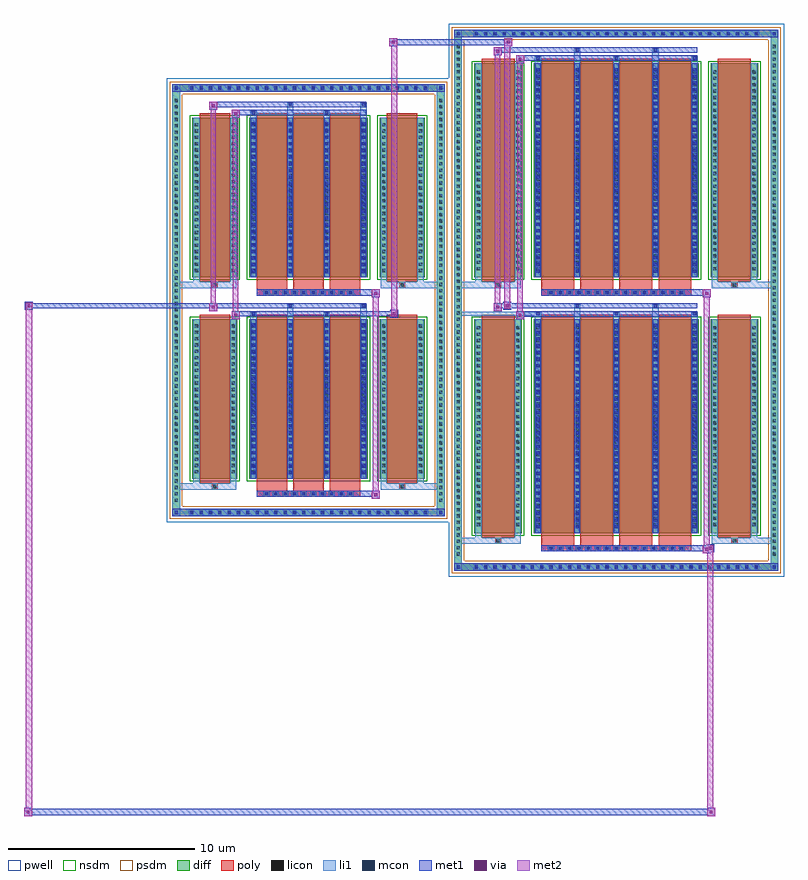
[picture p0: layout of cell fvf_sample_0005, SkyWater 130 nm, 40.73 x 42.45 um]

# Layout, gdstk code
import gdstk
lib = gdstk.Library(unit=1e-6, precision=1e-09)
def R(c, l, rs):  # rectangles x0, y0, x1, y1
    for r in rs: c.add(gdstk.rectangle(r[:2], r[2:], *l))
def A(c, l, x, y, w, h, nx, ny, dx, dy):  # array of equal rectangles
    R(c, l, [(x+i*dx, y+j*dy, x+i*dx+w, y+j*dy+h) for i in range(nx) for j in range(ny)])
def P(c, l, *ps):  # polygons
    for p in ps: c.add(gdstk.Polygon(p, *l))
pwell = (64, 44)
diff = (65, 20)
poly = (66, 20)
licon = (66, 44)
li1 = (67, 20)
mcon = (67, 44)
met1 = (68, 20)
via = (68, 44)
met2 = (69, 20)
nsdm = (93, 44)
psdm = (94, 20)

fvf_sample_0005 = lib.new_cell('fvf_sample_0005')
R(fvf_sample_0005, pwell, [(7.506,-14.808,25.484,14.808), (-7.606,-11.893,7.606,11.893)])
A(fvf_sample_0005, diff, 8.79, -14.498, 0.41, 0.41, 31, 2, 0.5, 28.586)
A(fvf_sample_0005, diff, 7.816, -13.805, 0.41, 0.41, 1, 81, 0, 0.34)
A(fvf_sample_0005, diff, 24.764, -13.805, 0.41, 0.41, 1, 81, 0, 0.34)
A(fvf_sample_0005, diff, -6.455, -11.583, 0.41, 0.41, 26, 2, 0.5, 22.756)
A(fvf_sample_0005, diff, -7.296, -10.915, 0.41, 0.41, 1, 64, 0, 0.34)
A(fvf_sample_0005, diff, 6.886, -10.915, 0.41, 0.41, 1, 64, 0, 0.34)
R(fvf_sample_0005, diff, [(8.79,-14.498,24.2,-14.088), (7.816,-13.805,8.226,13.805), (24.764,-13.805,25.174,13.805), (8.886,-12.477,11.434,-1.015), (12.074,-12.477,20.916,-1.015), (21.556,-12.477,24.104,-1.015), (-6.455,-11.583,6.455,-11.173), (-7.296,-10.915,-6.886,10.915), (6.886,-10.915,7.296,10.915), (-6.225,-9.562,-3.811,-1.014), (-3.171,-9.562,3.171,-1.014), (3.811,-9.562,6.225,-1.014), (-6.225,1.23,-3.811,9.778), (-3.171,1.23,3.171,9.778), (3.811,1.23,6.225,9.778), (8.886,1.231,11.434,12.693), (12.074,1.231,20.916,12.693), (21.556,1.231,24.104,12.693), (-6.455,11.173,6.455,11.583), (8.79,14.088,24.2,14.498)])
P(fvf_sample_0005, diff, [(7.296,11.583),(-7.296,11.583),(-7.296,-11.173),(-6.886,-11.173),(-6.886,11.173),(6.886,11.173),(6.886,-11.173),(-6.886,-11.173),(-7.296,-11.173),(-7.296,-11.583),(7.296,-11.583)],
  [(25.174,14.498),(7.816,14.498),(7.816,-14.088),(8.226,-14.088),(8.226,14.088),(24.764,14.088),(24.764,-14.088),(8.226,-14.088),(7.816,-14.088),(7.816,-14.498),(25.174,-14.498)])
A(fvf_sample_0005, poly, 12.83, -13.458, 0.33, 0.33, 15, 2, 0.5, 13.708)
A(fvf_sample_0005, poly, 12.464, -13.128, 1.768, 0.401, 4, 2, 2.098, 13.708)
A(fvf_sample_0005, poly, 12.464, -12.727, 1.768, 11.962, 4, 2, 2.098, 13.708)
A(fvf_sample_0005, poly, -2.415, -10.542, 0.33, 0.33, 10, 2, 0.5, 10.792)
A(fvf_sample_0005, poly, -2.781, -10.212, 1.634, 0.4, 3, 2, 1.964, 10.792)
A(fvf_sample_0005, poly, -2.781, -9.812, 1.634, 9.048, 3, 2, 1.964, 10.792)
R(fvf_sample_0005, poly, [(12.464,-13.458,20.526,-13.128), (9.995,-13.057,10.325,-12.727), (9.995,-13.057,10.325,-12.727), (22.665,-13.057,22.995,-12.727), (22.665,-13.057,22.995,-12.727), (9.276,-12.727,11.044,-0.765), (21.946,-12.727,23.714,-0.765), (-2.781,-10.542,2.781,-10.212), (-5.183,-10.142,-4.853,-9.812), (-5.183,-10.142,-4.853,-9.812), (4.853,-10.142,5.183,-9.812), (4.853,-10.142,5.183,-9.812), (-5.835,-9.812,-4.201,-0.764), (4.201,-9.812,5.835,-0.764), (-2.781,0.25,2.781,0.58), (12.464,0.25,20.526,0.58), (-5.183,0.65,-4.853,0.98), (-5.183,0.65,-4.853,0.98), (4.853,0.65,5.183,0.98), (4.853,0.65,5.183,0.98), (9.995,0.651,10.325,0.981), (9.995,0.651,10.325,0.981), (22.665,0.651,22.995,0.981), (22.665,0.651,22.995,0.981), (-5.835,0.98,-4.201,10.028), (4.201,0.98,5.835,10.028), (9.276,0.981,11.044,12.943), (21.946,0.981,23.714,12.943)])
A(fvf_sample_0005, licon, 8.91, -14.378, 0.17, 0.17, 31, 2, 0.5, 28.586)
A(fvf_sample_0005, licon, 7.936, -13.685, 0.17, 0.17, 1, 81, 0, 0.34)
A(fvf_sample_0005, licon, 24.884, -13.685, 0.17, 0.17, 1, 81, 0, 0.34)
A(fvf_sample_0005, licon, 12.91, -13.378, 0.17, 0.17, 15, 2, 0.5, 13.708)
A(fvf_sample_0005, licon, 9.026, -12.101, 0.17, 0.17, 1, 32, 0, 0.34)
A(fvf_sample_0005, licon, 11.124, -12.101, 0.17, 0.17, 1, 32, 0, 0.34)
A(fvf_sample_0005, licon, 12.214, -12.101, 0.17, 0.17, 5, 32, 2.098, 0.34)
A(fvf_sample_0005, licon, 21.696, -12.101, 0.17, 0.17, 1, 32, 0, 0.34)
A(fvf_sample_0005, licon, 23.794, -12.101, 0.17, 0.17, 1, 32, 0, 0.34)
A(fvf_sample_0005, licon, -6.335, -11.463, 0.17, 0.17, 26, 2, 0.5, 22.756)
A(fvf_sample_0005, licon, -7.176, -10.795, 0.17, 0.17, 1, 64, 0, 0.34)
A(fvf_sample_0005, licon, 7.006, -10.795, 0.17, 0.17, 1, 64, 0, 0.34)
A(fvf_sample_0005, licon, -2.335, -10.462, 0.17, 0.17, 10, 2, 0.5, 10.792)
A(fvf_sample_0005, licon, -6.085, -9.283, 0.17, 0.17, 1, 24, 0, 0.34)
A(fvf_sample_0005, licon, -4.121, -9.283, 0.17, 0.17, 1, 24, 0, 0.34)
A(fvf_sample_0005, licon, -3.031, -9.283, 0.17, 0.17, 4, 24, 1.964, 0.34)
A(fvf_sample_0005, licon, 3.951, -9.283, 0.17, 0.17, 1, 24, 0, 0.34)
A(fvf_sample_0005, licon, 5.915, -9.283, 0.17, 0.17, 1, 24, 0, 0.34)
A(fvf_sample_0005, licon, -6.085, 1.509, 0.17, 0.17, 1, 24, 0, 0.34)
A(fvf_sample_0005, licon, -4.121, 1.509, 0.17, 0.17, 1, 24, 0, 0.34)
A(fvf_sample_0005, licon, -3.031, 1.509, 0.17, 0.17, 4, 24, 1.964, 0.34)
A(fvf_sample_0005, licon, 3.951, 1.509, 0.17, 0.17, 1, 24, 0, 0.34)
A(fvf_sample_0005, licon, 5.915, 1.509, 0.17, 0.17, 1, 24, 0, 0.34)
A(fvf_sample_0005, licon, 9.026, 1.607, 0.17, 0.17, 1, 32, 0, 0.34)
A(fvf_sample_0005, licon, 11.124, 1.607, 0.17, 0.17, 1, 32, 0, 0.34)
A(fvf_sample_0005, licon, 12.214, 1.607, 0.17, 0.17, 5, 32, 2.098, 0.34)
A(fvf_sample_0005, licon, 21.696, 1.607, 0.17, 0.17, 1, 32, 0, 0.34)
A(fvf_sample_0005, licon, 23.794, 1.607, 0.17, 0.17, 1, 32, 0, 0.34)
R(fvf_sample_0005, licon, [(10.075,-12.977,10.245,-12.807), (22.745,-12.977,22.915,-12.807), (-5.103,-10.062,-4.933,-9.892), (4.933,-10.062,5.103,-9.892), (-5.103,0.73,-4.933,0.9), (4.933,0.73,5.103,0.9), (10.075,0.731,10.245,0.901), (22.745,0.731,22.915,0.901)])
A(fvf_sample_0005, li1, 8.83, -14.458, 0.33, 0.33, 31, 2, 0.5, 28.586)
A(fvf_sample_0005, li1, 7.856, -13.765, 0.33, 0.33, 1, 81, 0, 0.34)
A(fvf_sample_0005, li1, 24.804, -13.765, 0.33, 0.33, 1, 81, 0, 0.34)
A(fvf_sample_0005, li1, 12.83, -13.458, 0.33, 0.33, 15, 2, 0.5, 13.708)
A(fvf_sample_0005, li1, 12.134, -12.477, 0.33, 11.462, 5, 2, 2.098, 13.708)
A(fvf_sample_0005, li1, 12.214, -12.231, 0.17, 0.17, 5, 31, 2.098, 0.36)
A(fvf_sample_0005, li1, 12.214, -12.231, 0.17, 10.97, 5, 2, 2.098, 13.708)
A(fvf_sample_0005, li1, 8.946, -12.181, 0.33, 0.33, 1, 32, 0, 0.34)
A(fvf_sample_0005, li1, 11.044, -12.181, 0.33, 0.33, 1, 32, 0, 0.34)
A(fvf_sample_0005, li1, 12.134, -12.181, 0.33, 0.33, 5, 32, 2.098, 0.34)
A(fvf_sample_0005, li1, 21.616, -12.181, 0.33, 0.33, 1, 32, 0, 0.34)
A(fvf_sample_0005, li1, 23.714, -12.181, 0.33, 0.33, 1, 32, 0, 0.34)
A(fvf_sample_0005, li1, -6.415, -11.543, 0.33, 0.33, 26, 2, 0.5, 22.756)
A(fvf_sample_0005, li1, -7.256, -10.875, 0.33, 0.33, 1, 64, 0, 0.34)
A(fvf_sample_0005, li1, 6.926, -10.875, 0.33, 0.33, 1, 64, 0, 0.34)
A(fvf_sample_0005, li1, -2.415, -10.542, 0.33, 0.33, 10, 2, 0.5, 10.792)
A(fvf_sample_0005, li1, -3.111, -9.562, 0.33, 8.548, 4, 2, 1.964, 10.792)
A(fvf_sample_0005, li1, -6.165, -9.363, 0.33, 0.33, 1, 24, 0, 0.34)
A(fvf_sample_0005, li1, -4.201, -9.363, 0.33, 0.33, 1, 24, 0, 0.34)
A(fvf_sample_0005, li1, -3.111, -9.363, 0.33, 0.33, 4, 24, 1.964, 0.34)
A(fvf_sample_0005, li1, 3.871, -9.363, 0.33, 0.33, 1, 24, 0, 0.34)
A(fvf_sample_0005, li1, 5.835, -9.363, 0.33, 0.33, 1, 24, 0, 0.34)
A(fvf_sample_0005, li1, -3.031, -9.333, 0.17, 0.17, 4, 23, 1.964, 0.36)
A(fvf_sample_0005, li1, -3.031, -9.333, 0.17, 8.09, 4, 2, 1.964, 10.792)
A(fvf_sample_0005, li1, 12.134, -1.015, 0.33, 0.375, 3, 2, 4.196, 13.708)
A(fvf_sample_0005, li1, 12.214, -0.81, 0.17, 0.17, 3, 2, 4.196, 13.708)
A(fvf_sample_0005, li1, -6.165, 1.429, 0.33, 0.33, 1, 24, 0, 0.34)
A(fvf_sample_0005, li1, -4.201, 1.429, 0.33, 0.33, 1, 24, 0, 0.34)
A(fvf_sample_0005, li1, -3.111, 1.429, 0.33, 0.33, 4, 24, 1.964, 0.34)
A(fvf_sample_0005, li1, 3.871, 1.429, 0.33, 0.33, 1, 24, 0, 0.34)
A(fvf_sample_0005, li1, 5.835, 1.429, 0.33, 0.33, 1, 24, 0, 0.34)
A(fvf_sample_0005, li1, -3.031, 1.459, 0.17, 0.17, 4, 23, 1.964, 0.36)
A(fvf_sample_0005, li1, 12.214, 1.477, 0.17, 0.17, 5, 31, 2.098, 0.36)
A(fvf_sample_0005, li1, 8.946, 1.527, 0.33, 0.33, 1, 32, 0, 0.34)
A(fvf_sample_0005, li1, 11.044, 1.527, 0.33, 0.33, 1, 32, 0, 0.34)
A(fvf_sample_0005, li1, 12.134, 1.527, 0.33, 0.33, 5, 32, 2.098, 0.34)
A(fvf_sample_0005, li1, 21.616, 1.527, 0.33, 0.33, 1, 32, 0, 0.34)
A(fvf_sample_0005, li1, 23.714, 1.527, 0.33, 0.33, 1, 32, 0, 0.34)
R(fvf_sample_0005, li1, [(7.816,-14.498,8.226,-14.088), (24.764,-14.498,25.174,-14.088), (8.83,-14.458,24.16,-14.128), (7.936,-14.378,8.106,-14.208), (7.936,-14.378,8.106,-14.208), (24.884,-14.378,25.054,-14.208), (24.884,-14.378,25.054,-14.208), (7.816,-14.088,8.226,14.088), (24.764,-14.088,25.174,14.088), (7.816,-13.057,9.995,-12.727), (8.946,-13.057,9.276,-12.477), (8.946,-13.057,9.995,-12.727), (9.995,-13.057,10.325,-12.727), (10.325,-13.057,11.374,-12.727), (11.044,-13.057,11.374,-12.477), (21.616,-13.057,21.946,-12.477), (21.616,-13.057,22.665,-12.727), (22.665,-13.057,22.995,-12.727), (22.665,-13.057,25.174,-12.727), (22.995,-13.057,24.044,-12.727), (23.714,-13.057,24.044,-12.477), (8.946,-12.477,9.276,-1.015), (11.044,-12.477,11.374,-1.015), (21.616,-12.477,21.946,-1.015), (23.714,-12.477,24.044,-1.015), (-7.296,-11.583,-6.886,-11.173), (6.886,-11.583,7.296,-11.173), (-6.415,-11.543,6.415,-11.213), (-7.176,-11.463,-7.006,-11.293), (-7.176,-11.463,-7.006,-11.293), (7.006,-11.463,7.176,-11.293), (7.006,-11.463,7.176,-11.293), (-7.296,-11.173,-6.886,11.173), (6.886,-11.173,7.296,11.173), (-7.296,-10.142,-5.183,-9.812), (-6.165,-10.142,-5.183,-9.812), (-6.165,-10.142,-5.835,-9.562), (-5.183,-10.142,-4.853,-9.812), (-4.853,-10.142,-3.871,-9.812), (-4.201,-10.142,-3.871,-9.562), (3.871,-10.142,4.853,-9.812), (3.871,-10.142,4.201,-9.562), (4.853,-10.142,5.183,-9.812), (4.853,-10.142,7.296,-9.812), (5.183,-10.142,6.165,-9.812), (5.835,-10.142,6.165,-9.562), (-6.165,-9.562,-5.835,-1.014), (-4.201,-9.562,-3.871,-1.014), (3.871,-9.562,4.201,-1.014), (5.835,-9.562,6.165,-1.014), (14.232,-1.015,14.562,-0.21), (18.428,-1.015,18.758,-0.21), (-3.111,-1.014,-2.781,-0.639), (-1.147,-1.014,-0.817,-0.209), (0.817,-1.014,1.147,-0.639), (2.781,-1.014,3.111,-0.209), (12.154,-0.87,12.444,-0.58), (7.816,-0.825,12.154,-0.625), (12.214,-0.81,12.384,-0.64), (-3.031,-0.809,-2.861,-0.639), (0.897,-0.809,1.067,-0.639), (14.312,-0.38,14.482,-0.21), (18.508,-0.38,18.678,-0.21), (-1.067,-0.379,-0.897,-0.209), (2.861,-0.379,3.031,-0.209), (-7.296,0.65,-5.183,0.98), (-6.165,0.65,-5.183,0.98), (-6.165,0.65,-5.835,1.23), (-5.183,0.65,-4.853,0.98), (-4.853,0.65,-3.871,0.98), (-4.201,0.65,-3.871,1.23), (3.871,0.65,4.853,0.98), (3.871,0.65,4.201,1.23), (4.853,0.65,5.183,0.98), (4.853,0.65,7.296,0.98), (5.183,0.65,6.165,0.98), (5.835,0.65,6.165,1.23), (7.816,0.651,9.995,0.981), (8.946,0.651,9.276,1.231), (8.946,0.651,9.995,0.981), (9.995,0.651,10.325,0.981), (10.325,0.651,11.374,0.981), (11.044,0.651,11.374,1.231), (21.616,0.651,21.946,1.231), (21.616,0.651,22.665,0.981), (22.665,0.651,22.995,0.981), (22.665,0.651,25.174,0.981), (22.995,0.651,24.044,0.981), (23.714,0.651,24.044,1.231), (-6.165,1.23,-5.835,9.778), (-4.201,1.23,-3.871,9.778), (3.871,1.23,4.201,9.778), (5.835,1.23,6.165,9.778), (8.946,1.231,9.276,12.693), (11.044,1.231,11.374,12.693), (21.616,1.231,21.946,12.693), (23.714,1.231,24.044,12.693), (-3.111,9.778,-2.781,10.153), (-1.147,9.778,-0.817,10.583), (0.817,9.778,1.147,10.153), (2.781,9.778,3.111,10.583), (-3.031,9.983,-2.861,10.153), (0.897,9.983,1.067,10.153), (-1.067,10.413,-0.897,10.583), (2.861,10.413,3.031,10.583), (-7.296,11.173,-6.886,11.583), (6.886,11.173,7.296,11.583), (-6.415,11.213,6.415,11.543), (-7.176,11.293,-7.006,11.463), (-7.176,11.293,-7.006,11.463), (7.006,11.293,7.176,11.463), (7.006,11.293,7.176,11.463), (14.232,12.693,14.562,13.498), (18.428,12.693,18.758,13.498), (14.312,13.328,14.482,13.498), (18.508,13.328,18.678,13.498), (7.816,14.088,8.226,14.498), (24.764,14.088,25.174,14.498), (8.83,14.128,24.16,14.458), (7.936,14.208,8.106,14.378), (7.936,14.208,8.106,14.378), (24.884,14.208,25.054,14.378), (24.884,14.208,25.054,14.378)])
A(fvf_sample_0005, mcon, 8.91, -14.378, 0.17, 0.17, 31, 2, 0.5, 28.586)
A(fvf_sample_0005, mcon, 12.91, -13.378, 0.17, 0.17, 15, 2, 0.5, 13.708)
A(fvf_sample_0005, mcon, 12.214, -12.231, 0.17, 0.17, 5, 31, 2.098, 0.36)
A(fvf_sample_0005, mcon, -6.335, -11.463, 0.17, 0.17, 26, 2, 0.5, 22.756)
A(fvf_sample_0005, mcon, -2.335, -10.462, 0.17, 0.17, 10, 2, 0.5, 10.792)
A(fvf_sample_0005, mcon, -3.031, -9.333, 0.17, 0.17, 4, 23, 1.964, 0.36)
A(fvf_sample_0005, mcon, 12.214, -0.81, 0.17, 0.17, 3, 2, 4.196, 13.708)
A(fvf_sample_0005, mcon, -3.031, 1.459, 0.17, 0.17, 4, 23, 1.964, 0.36)
A(fvf_sample_0005, mcon, 12.214, 1.477, 0.17, 0.17, 5, 31, 2.098, 0.36)
R(fvf_sample_0005, mcon, [(7.936,-14.378,8.106,-14.208), (24.884,-14.378,25.054,-14.208), (-7.176,-11.463,-7.006,-11.293), (7.006,-11.463,7.176,-11.293), (12.214,-0.81,12.384,-0.64), (-3.031,-0.809,-2.861,-0.639), (0.897,-0.809,1.067,-0.639), (14.312,-0.38,14.482,-0.21), (18.508,-0.38,18.678,-0.21), (-1.067,-0.379,-0.897,-0.209), (2.861,-0.379,3.031,-0.209), (-3.031,9.983,-2.861,10.153), (0.897,9.983,1.067,10.153), (-1.067,10.413,-0.897,10.583), (2.861,10.413,3.031,10.583), (-7.176,11.293,-7.006,11.463), (7.006,11.293,7.176,11.463), (14.312,13.328,14.482,13.498), (18.508,13.328,18.678,13.498), (7.936,14.208,8.106,14.378), (24.884,14.208,25.054,14.378)])
A(fvf_sample_0005, met1, 8.85, -14.438, 0.29, 0.29, 31, 2, 0.5, 28.586)
A(fvf_sample_0005, met1, 12.85, -13.438, 0.29, 0.29, 15, 2, 0.5, 13.708)
A(fvf_sample_0005, met1, 12.154, -12.477, 0.29, 11.462, 5, 2, 2.098, 13.708)
A(fvf_sample_0005, met1, 12.154, -12.291, 0.29, 0.29, 5, 31, 2.098, 0.36)
A(fvf_sample_0005, met1, -6.395, -11.523, 0.29, 0.29, 26, 2, 0.5, 22.756)
A(fvf_sample_0005, met1, -2.395, -10.522, 0.29, 0.29, 10, 2, 0.5, 10.792)
A(fvf_sample_0005, met1, -3.091, -9.562, 0.29, 8.548, 4, 2, 1.964, 10.792)
A(fvf_sample_0005, met1, -3.091, -9.393, 0.29, 0.29, 4, 23, 1.964, 0.36)
A(fvf_sample_0005, met1, 12.154, -0.87, 0.29, 0.29, 3, 2, 4.196, 13.708)
A(fvf_sample_0005, met1, -3.091, 1.399, 0.29, 0.29, 4, 23, 1.964, 0.36)
A(fvf_sample_0005, met1, 12.154, 1.417, 0.29, 0.29, 5, 31, 2.098, 0.36)
R(fvf_sample_0005, met1, [(-15.249,-27.641,-14.819,-27.211), (21.361,-27.641,21.791,-27.211), (-15.249,-27.591,21.791,-27.261), (-15.249,-27.261,-14.819,-27.211), (21.361,-27.261,21.791,-27.211), (7.816,-14.498,8.226,-14.088), (7.816,-14.498,8.226,-14.088), (8.226,-14.498,24.764,-14.088), (24.764,-14.498,25.174,-14.088), (24.764,-14.498,25.174,-14.088), (7.876,-14.438,8.166,-14.148), (24.824,-14.438,25.114,-14.148), (21.126,-13.558,21.556,-13.128), (21.311,-13.508,21.741,-13.078), (12.464,-13.458,20.526,-13.128), (20.526,-13.458,21.556,-13.128), (20.526,-13.458,21.311,-13.128), (-7.296,-11.583,-6.886,-11.173), (-7.296,-11.583,-6.886,-11.173), (-6.886,-11.583,6.886,-11.173), (6.886,-11.583,7.296,-11.173), (6.886,-11.583,7.296,-11.173), (-7.236,-11.523,-6.946,-11.233), (6.946,-11.523,7.236,-11.233), (3.381,-10.642,3.811,-10.212), (-2.781,-10.542,2.781,-10.212), (2.781,-10.542,3.811,-10.212), (11.124,-1.01,11.554,-0.58), (-4.121,-1.009,-3.691,-0.579), (4.376,-0.939,4.806,-0.509), (11.124,-0.87,12.154,-0.58), (12.154,-0.87,12.444,-0.58), (12.154,-0.87,20.836,-0.58), (-4.121,-0.869,-3.091,-0.579), (-3.091,-0.869,-2.801,-0.579), (-3.091,-0.869,3.091,-0.579), (0.837,-0.869,1.127,-0.579), (3.091,-0.869,4.376,-0.579), (9.924,-0.58,10.354,-0.15), (-5.321,-0.579,-4.891,-0.149), (10.439,-0.51,10.869,-0.08), (-15.199,-0.509,-14.769,-0.079), (9.924,-0.44,12.154,-0.15), (10.869,-0.44,12.154,-0.15), (12.154,-0.44,20.836,-0.15), (14.252,-0.44,14.542,-0.15), (18.448,-0.44,18.738,-0.15), (-14.769,-0.439,-3.091,-0.149), (-5.321,-0.439,-3.091,-0.149), (-3.091,-0.439,3.091,-0.149), (-1.127,-0.439,-0.837,-0.149), (2.801,-0.439,3.091,-0.149), (3.381,0.15,3.811,0.58), (21.126,0.15,21.556,0.58), (-2.781,0.25,2.781,0.58), (2.781,0.25,3.811,0.58), (12.464,0.25,20.526,0.58), (20.526,0.25,21.556,0.58), (-4.121,9.783,-3.691,10.213), (-4.121,9.923,-3.091,10.213), (-3.091,9.923,-2.801,10.213), (-3.091,9.923,3.091,10.213), (0.837,9.923,1.127,10.213), (-5.321,10.213,-4.891,10.643), (-5.321,10.353,-3.091,10.643), (-3.091,10.353,3.091,10.643), (-1.127,10.353,-0.837,10.643), (2.801,10.353,3.091,10.643), (-7.296,11.173,-6.886,11.583), (-7.296,11.173,-6.886,11.583), (-6.886,11.173,6.886,11.583), (6.886,11.173,7.296,11.583), (6.886,11.173,7.296,11.583), (-7.236,11.233,-6.946,11.523), (6.946,11.233,7.236,11.523), (11.124,12.698,11.554,13.128), (11.124,12.838,12.154,13.128), (12.154,12.838,20.836,13.128), (9.924,13.128,10.354,13.558), (9.924,13.268,12.154,13.558), (12.154,13.268,20.836,13.558), (14.252,13.268,14.542,13.558), (18.448,13.268,18.738,13.558), (4.326,13.623,4.756,14.053), (10.489,13.623,10.919,14.053), (4.326,13.673,10.919,14.003), (4.326,14.003,4.756,14.053), (10.489,14.003,10.919,14.053), (7.816,14.088,8.226,14.498), (7.816,14.088,8.226,14.498), (8.226,14.088,24.764,14.498), (24.764,14.088,25.174,14.498), (24.764,14.088,25.174,14.498), (7.876,14.148,8.166,14.438), (24.824,14.148,25.114,14.438)])
R(fvf_sample_0005, via, [(-15.109,-27.501,-14.959,-27.351), (21.501,-27.501,21.651,-27.351), (21.266,-13.418,21.416,-13.268), (21.451,-13.368,21.601,-13.218), (3.521,-10.502,3.671,-10.352), (11.264,-0.87,11.414,-0.72), (-3.981,-0.869,-3.831,-0.719), (4.516,-0.799,4.666,-0.649), (10.064,-0.44,10.214,-0.29), (-5.181,-0.439,-5.031,-0.289), (10.579,-0.37,10.729,-0.22), (-15.059,-0.369,-14.909,-0.219), (3.521,0.29,3.671,0.44), (21.266,0.29,21.416,0.44), (-3.981,9.923,-3.831,10.073), (-5.181,10.353,-5.031,10.503), (11.264,12.838,11.414,12.988), (10.064,13.268,10.214,13.418), (4.466,13.763,4.616,13.913), (10.629,13.763,10.779,13.913)])
R(fvf_sample_0005, met2, [(-15.249,-27.641,-14.819,-27.211), (-15.149,-27.641,-14.819,-0.459), (21.361,-27.641,21.791,-27.211), (21.361,-27.641,21.691,-13.458), (-15.199,-27.591,-14.869,-27.261), (21.411,-27.591,21.741,-27.261), (21.126,-13.558,21.556,-13.128), (21.176,-13.558,21.506,0.58), (21.506,-13.558,21.556,-13.128), (21.176,-13.508,21.506,-13.178), (21.361,-13.458,21.691,-13.128), (3.381,-10.642,3.811,-10.212), (3.431,-10.642,3.761,0.58), (3.761,-10.642,3.811,-10.212), (3.431,-10.592,3.761,-10.262), (11.124,-1.01,11.554,-0.58), (11.194,-1.01,11.484,13.128), (11.484,-1.01,11.554,-0.58), (-4.121,-1.009,-3.691,-0.579), (-4.051,-1.009,-3.761,10.213), (-3.761,-1.009,-3.691,-0.579), (11.174,-0.96,11.504,-0.63), (-4.071,-0.959,-3.741,-0.629), (4.426,-0.889,4.756,-0.559), (9.924,-0.58,10.354,-0.15), (9.994,-0.58,10.284,13.558), (10.284,-0.58,10.354,-0.15), (-5.321,-0.579,-4.891,-0.149), (-5.251,-0.579,-4.961,10.643), (-4.961,-0.579,-4.891,-0.149), (4.426,-0.559,4.756,14.053), (9.974,-0.53,10.304,-0.2), (-5.271,-0.529,-4.941,-0.199), (10.489,-0.46,10.819,-0.13), (-15.149,-0.459,-14.819,-0.129), (10.489,-0.13,10.819,14.053), (3.381,0.15,3.811,0.58), (3.761,0.15,3.811,0.58), (21.126,0.15,21.556,0.58), (21.506,0.15,21.556,0.58), (3.431,0.2,3.761,0.53), (21.176,0.2,21.506,0.53), (-4.121,9.783,-3.691,10.213), (-3.761,9.783,-3.691,10.213), (-4.071,9.833,-3.741,10.163), (-5.321,10.213,-4.891,10.643), (-4.961,10.213,-4.891,10.643), (-5.271,10.263,-4.941,10.593), (11.124,12.698,11.554,13.128), (11.484,12.698,11.554,13.128), (11.174,12.748,11.504,13.078), (9.924,13.128,10.354,13.558), (10.284,13.128,10.354,13.558), (9.974,13.178,10.304,13.508), (4.326,13.623,4.756,14.053), (10.489,13.623,10.919,14.053), (4.376,13.673,4.706,14.003), (10.539,13.673,10.869,14.003)])
R(fvf_sample_0005, nsdm, [(8.756,-12.607,11.564,-0.885), (11.944,-12.607,21.046,-0.885), (21.426,-12.607,24.234,-0.885), (-6.355,-9.692,-3.681,-0.884), (-3.301,-9.692,3.301,-0.884), (3.681,-9.692,6.355,-0.884), (-6.355,1.1,-3.681,9.908), (-3.301,1.1,3.301,9.908), (3.681,1.1,6.355,9.908), (8.756,1.101,11.564,12.823), (11.944,1.101,21.046,12.823), (21.426,1.101,24.234,12.823)])
P(fvf_sample_0005, psdm, [(7.426,11.713),(-7.426,11.713),(-7.426,-11.043),(-6.756,-11.043),(-6.756,11.043),(6.756,11.043),(6.756,-11.043),(-6.756,-11.043),(-7.426,-11.043),(-7.426,-11.713),(7.426,-11.713)],
  [(25.304,14.628),(7.686,14.628),(7.686,-13.958),(8.356,-13.958),(8.356,13.958),(24.634,13.958),(24.634,-13.958),(8.356,-13.958),(7.686,-13.958),(7.686,-14.628),(25.304,-14.628)])

lib.write_gds('fvf_sample_0005.gds')
